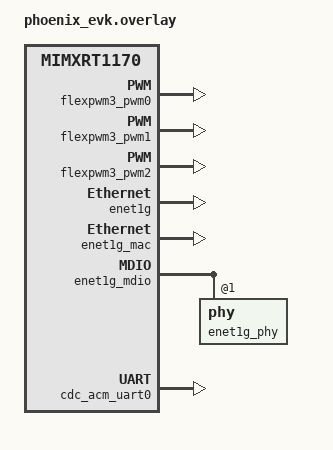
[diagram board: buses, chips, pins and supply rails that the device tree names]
/*
 * Copyright 2024 FARO
 *
 * ENET_1G binding overlay
 */

#include <zephyr/dt-bindings/memory-attr/memory-attr-arm.h>

/ {
	soc {
		/delete-node/ ethernet@40424000;
	};
};

&enet1g {
	status = "okay";
};

&enet1g_mac {
	status = "okay";
};

&enet1g_mdio {
	status = "okay";
	enet1g_phy: phy@1 {
		status = "okay";
	};
};

&enet1g_ptp_clock {
	status = "okay";
};

&pinctrl {
	/delete-node/ pinmux_enet;
	/delete-node/ pinmux_enet_mdio;
	/delete-node/ pinmux_ptp;

	pinmux_flexpwm3: pinmux_flexpwm3 {
		group0 {
			pinmux = <&iomuxc_gpio_emc_b2_00_flexpwm3_pwm0_a>,
						<&iomuxc_gpio_emc_b2_01_flexpwm3_pwm0_b>,
						<&iomuxc_gpio_emc_b2_02_flexpwm3_pwm1_a>,
						<&iomuxc_gpio_emc_b2_04_flexpwm3_pwm2_a>;
			drive-strength = "high";
			bias-pull-up;
			slew-rate = "fast";
		};
	};
};

/*
Components need to simulate device that are only on the phoenix board
*/
/ {
	board_id: board-id {
		compatible = "board-id-sim";
		simulated-id = <7>;
		
	};

	tracker_sync: tracker_sync {
		compatible = "tracker-sync-sim";
		simulated-rate-ms = <1000>;
	};
};

/ {
	chosen {
		zephyr,console = &cdc_acm_uart0;
		zephyr,shell-uart = &cdc_acm_uart0;
	};
};

&zephyr_udc0 {
	cdc_acm_uart0: cdc_acm_uart0 {
		compatible = "zephyr,cdc-acm-uart";
	};
};

/ {
    compatible = "nxp,mimxrt1170-evk";

    aliases {
        pwm3-pwm0 = &flexpwm3_pwm0;
        pwm3-pwm1 = &flexpwm3_pwm1;
        pwm3-pwm2 = &flexpwm3_pwm2;
    };

	soc{
		flexpwm3: flexpwm@40194000 {
			flexpwm3_pwm0: flexpwm3_pwm0 {
				status = "okay";
				pinctrl-0 = <&pinmux_flexpwm3>;
				pinctrl-names = "default";
			};

			flexpwm3_pwm1: flexpwm3_pwm1 {
				status = "okay";
				pinctrl-0 = <&pinmux_flexpwm3>;
				pinctrl-names = "default";
			};

			flexpwm3_pwm2: flexpwm3_pwm2 {
				status = "okay";
				pinctrl-0 = <&pinmux_flexpwm3>;
				pinctrl-names = "default";
			};
		};
	};
};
